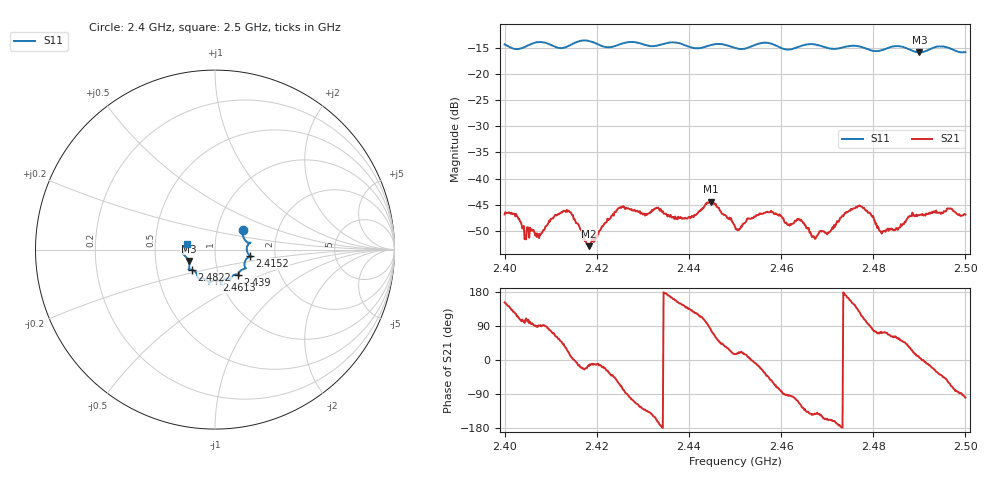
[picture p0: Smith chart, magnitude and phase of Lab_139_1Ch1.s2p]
# Hz S RI R 50
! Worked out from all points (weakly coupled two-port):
!   601 points, 2.4 GHz to 2.5 GHz, reference 50 ohm
!   highest |S21| = -44.41 dB at 2.4448 GHz (marker M1); lowest = -52.9 dB at 2.4183 GHz (marker M2)
!   lowest |S11| = -15.9 dB at 2.49 GHz (marker M3), VSWR 1.38, Z = 36.9 - j4.84 ohm
!   |S11| at or under -10 dB: start of sweep to end of sweep
!   S12 and S22 are empty: the file has one direction only
!   S11 on the Smith chart (normalised r, x): 2.4 GHz: 1.33, +0.31; 2.4152 GHz: 1.48, -0.11; 2.439 GHz: 1.24, -0.36; 2.4613 GHz: 0.96, -0.34; 2.4822 GHz: 0.76, -0.17; 2.5 GHz: 0.72, +0.05
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2.4e9  0.1563 0.1109  -0.00401 0.00214  0 0  0 0
2.407167e9  0.1977 0.0377  0.000148 0.00298  0 0  0 0
2.4125e9  0.1768 -0.00194  0.00335 0.00337  0 0  0 0
2.415167e9  0.1942 -0.0356  0.0041 -6.26e-05  0 0  0 0
2.416667e9  0.2039 -0.0413  0.00302 -0.00111  0 0  0 0
2.418333e9  0.2027 -0.0388  0.00218 -0.000618  0 0  0 0
2.425e9  0.1665 -0.0955  0.00225 -0.00475  0 0  0 0
2.433333e9  0.1328 -0.1326  -0.00507 -0.00153  0 0  0 0
2.439e9  0.128 -0.1395  -0.00332 0.00248  0 0  0 0
2.444833e9  0.0841 -0.1695  0.00133 0.00587  0 0  0 0
2.45e9  0.0688 -0.1634  0.00333 0.000895  0 0  0 0
2.457333e9  0.0398 -0.1934  0.0033 -0.00345  0 0  0 0
2.461333e9  0.00754 -0.1707  -0.00017 -0.00363  0 0  0 0
2.464e9  -0.0269 -0.181  -0.00171 -0.00368  0 0  0 0
2.466667e9  -0.0334 -0.19  -0.00226 -0.0016  0 0  0 0
2.470333e9  -0.046 -0.17  -0.00283 -0.00111  0 0  0 0
2.476833e9  -0.0947 -0.1576  -0.00345 0.00425  0 0  0 0
2.482167e9  -0.128 -0.1124  0.000958 0.00301  0 0  0 0
2.483333e9  -0.1393 -0.1108  0.00125 0.00292  0 0  0 0
2.49e9  -0.1473 -0.0639  0.00445 0.000501  0 0  0 0
2.4965e9  -0.1761 -0.0152  0.00248 -0.00451  0 0  0 0
2.5e9  -0.1585 0.0339  -0.00072 -0.00446  0 0  0 0
